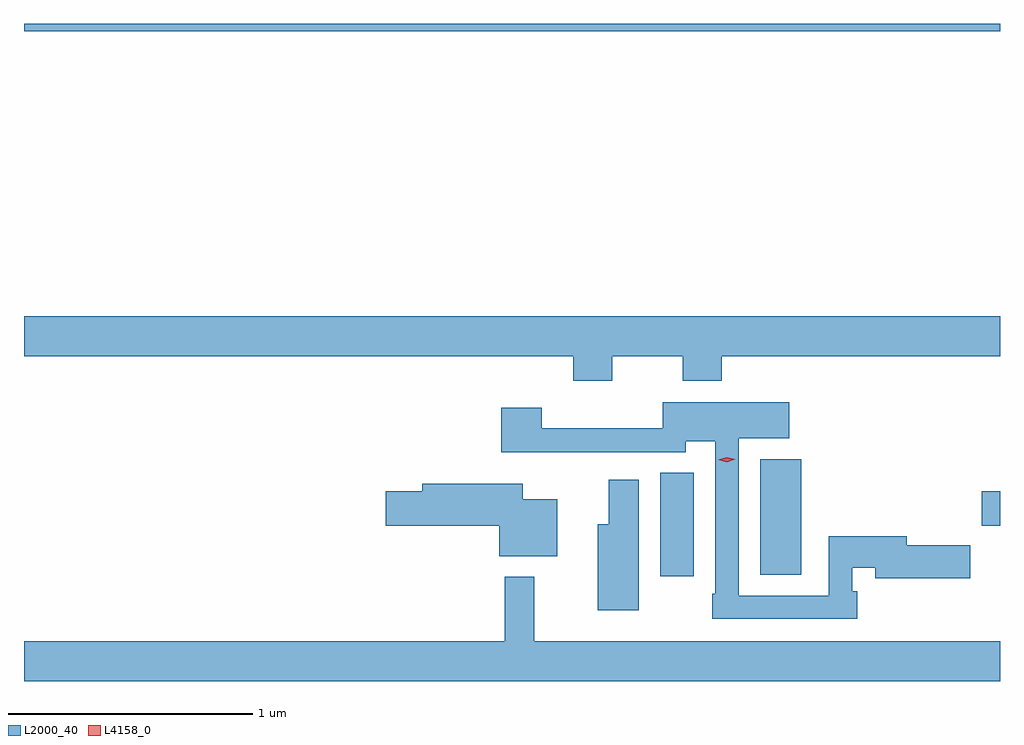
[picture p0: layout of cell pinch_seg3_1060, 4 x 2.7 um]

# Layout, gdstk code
import gdstk
lib = gdstk.Library(unit=1e-6, precision=1e-09)
def R(c, l, rs):  # rectangles x0, y0, x1, y1
    for r in rs: c.add(gdstk.rectangle(r[:2], r[2:], *l))
def P(c, l, *ps):  # polygons
    for p in ps: c.add(gdstk.Polygon(p, *l))
L2000_40 = (2000, 40)
L4158_0 = (4158, 0)

pinch_seg3_1060 = lib.new_cell('pinch_seg3_1060')
R(pinch_seg3_1060, L2000_40, [(251.93,746.634,252.067,747.059), (252.341,746.641,252.508,747.115), (253.248,746.842,253.323,746.984), (249.323,748.868,253.323,748.9)])
P(pinch_seg3_1060, L2000_40, [(251.733,747.536),(252.022,747.536),(252.022,747.437),(252.182,747.437),(252.182,747.536),(253.323,747.536),(253.323,747.7),(249.323,747.7),(249.323,747.536),(251.573,747.536),(251.573,747.437),(251.733,747.437)],
  [(252.737,746.574),(252.717,746.574),(252.717,746.67),(252.812,746.67),(252.812,746.627),(253.201,746.627),(253.201,746.762),(252.94,746.762),(252.94,746.798),(252.621,746.798),(252.621,746.556),(252.252,746.556),(252.252,747.2),(252.46,747.2),(252.46,747.349),(251.94,747.349),(251.94,747.242),(251.444,747.242),(251.444,747.325),(251.279,747.325),(251.279,747.143),(251.527,747.143),(251.527,747.144),(252.036,747.144),(252.036,747.188),(252.156,747.188),(252.156,746.563),(252.144,746.563),(252.144,746.46),(252.737,746.46)],
  [(251.842,747.031),(251.72,747.031),(251.72,746.848),(251.675,746.848),(251.675,746.496),(251.842,746.496)],
  [(251.509,746.95),(251.368,746.95),(251.368,747.014),(250.955,747.014),(250.955,746.984),(250.806,746.984),(250.806,746.842),(251.27,746.842),(251.27,746.717),(251.509,746.717)],
  [(253.323,746.368),(251.414,746.368),(251.414,746.632),(251.293,746.632),(251.293,746.368),(249.323,746.368),(249.323,746.204),(253.323,746.204)])
P(pinch_seg3_1060, L4158_0, [(252.203,747.103),(252.168,747.112),(252.168,747.112),(252.168,747.112),(252.203,747.123),(252.238,747.114),(252.238,747.114),(252.238,747.114)])

lib.write_gds('pinch_seg3_1060.gds')
